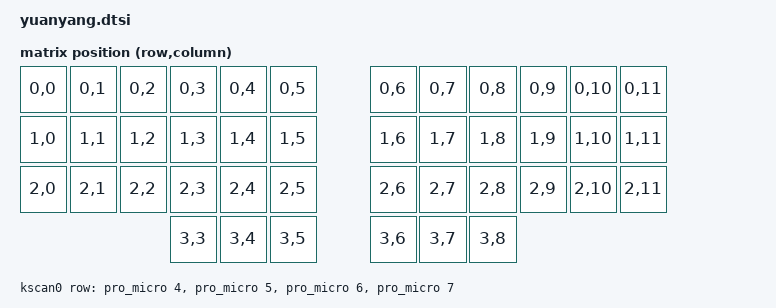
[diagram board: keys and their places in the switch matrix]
/*
 * Copyright (c) 2022 The ZMK Contributors
 *
 * SPDX-License-Identifier: MIT
 */

#include <dt-bindings/zmk/matrix_transform.h>

#include <behaviors.dtsi>
#include <dt-bindings/zmk/keys.h>
#include <dt-bindings/zmk/bt.h>

#define BASE 0
#define LOWER 1
#define MOUSE_KEYS 2
#define MOUSE_TP 3
#define MOUSE_TP_SET 4

/*
 * Defines to enable/disable features
 *
 * These defines allow us to conditionally enable and disable parts of the keymap config.
 *
 * For example, if we decide to build the firmware without the mouse features, we can
 * disable all the config options that rely on those forks and modules without having
 * to edit the entire keymap file manually every time.
 */

#define HAS_MOUSE_KEYS
#define HAS_MOUSE_TP

#ifdef HAS_MOUSE_KEYS
  #include <dt-bindings/zmk/mouse.h>
  #include <behaviors/mouse_keys.dtsi>
#endif  // HAS_MOUSE_KEYS

#ifdef HAS_MOUSE_TP
  // We store the trackpoint settings in a separate file
  // to make organization a little easier.
  #include "include/mouse_tp.dtsi"
#endif  // HAS_MOUSE_TP



// Adjust layer keys based on enabled features.
//
// This prevents build errors when we build the firmware
// without the mouse keys PR or the TP module.
#ifdef HAS_MOUSE_KEYS
  #define U_THUMB_INNER &mo MOUSE_KEYS
#else
  #define U_THUMB_INNER &none
#endif  // HAS_MOUSE_KEYS

#ifdef HAS_MOUSE_TP
  #define U_TOG_TP_SET &tog MOUSE_TP_SET
#else
  #define U_TOG_TP_SET &none
#endif  // HAS_MOUSE_TP

/ {
    chosen {
        zmk,kscan = &kscan0;
        zmk,matrix_transform = &default_transform;
    };

    default_transform: keymap_transform_0 {
        compatible = "zmk,matrix-transform";
        columns = <12>;
        rows = <4>;
// | SW1  | SW2  | SW3  | SW4  | SW5  | SW6  |   | SW6  | SW5  | SW4  | SW3  | SW2  | SW1  |
// | SW7  | SW8  | SW9  | SW10 | SW11 | SW12 |   | SW12 | SW11 | SW10 | SW9  | SW8  | SW7  |
// | SW13 | SW14 | SW15 | SW16 | SW17 | SW18 |   | SW18 | SW17 | SW16 | SW15 | SW14 | SW13 |
//                      | SW19 | SW20 | SW21 |   | SW21 | SW20 | SW19 |
        map = <
RC(0,0) RC(0,1) RC(0,2) RC(0,3) RC(0,4) RC(0,5)  RC(0,6)  RC(0,7) RC(0,8) RC(0,9) RC(0,10) RC(0,11)
RC(1,0) RC(1,1) RC(1,2) RC(1,3) RC(1,4) RC(1,5)  RC(1,6)  RC(1,7) RC(1,8) RC(1,9) RC(1,10) RC(1,11)
RC(2,0) RC(2,1) RC(2,2) RC(2,3) RC(2,4) RC(2,5)  RC(2,6)  RC(2,7) RC(2,8) RC(2,9) RC(2,10) RC(2,11)
                        RC(3,3) RC(3,4) RC(3,5)  RC(3,6) RC(3,7) RC(3,8)
        >;
    };


    kscan0: kscan_0 {
        compatible = "zmk,kscan-gpio-matrix";
        label = "KSCAN";
        
        diode-direction = "col2row"; 
        row-gpios
            = <&pro_micro 4 (GPIO_ACTIVE_HIGH | GPIO_PULL_DOWN)>
            , <&pro_micro 5 (GPIO_ACTIVE_HIGH | GPIO_PULL_DOWN)>
            , <&pro_micro 6 (GPIO_ACTIVE_HIGH | GPIO_PULL_DOWN)>
            , <&pro_micro 7 (GPIO_ACTIVE_HIGH | GPIO_PULL_DOWN)>
            ;
    };
};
